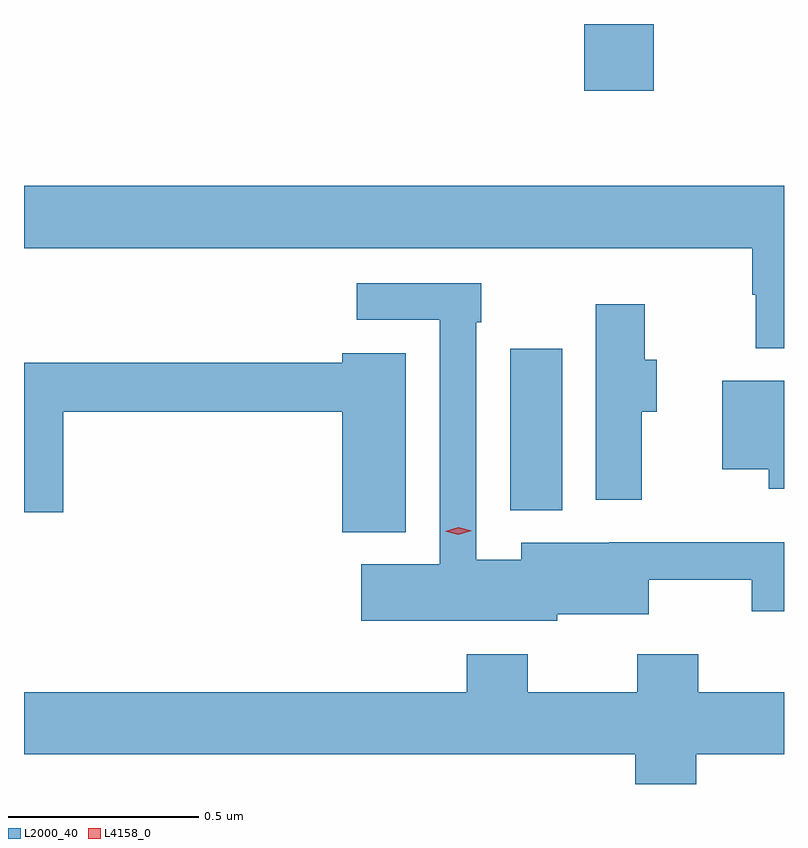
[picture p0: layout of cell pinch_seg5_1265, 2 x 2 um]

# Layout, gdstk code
import gdstk
lib = gdstk.Library(unit=1e-6, precision=1e-09)
def R(c, l, rs):  # rectangles x0, y0, x1, y1
    for r in rs: c.add(gdstk.rectangle(r[:2], r[2:], *l))
def P(c, l, *ps):  # polygons
    for p in ps: c.add(gdstk.Polygon(p, *l))
L2000_40 = (2000, 40)
L4158_0 = (4158, 0)

pinch_seg5_1265 = lib.new_cell('pinch_seg5_1265')
R(pinch_seg5_1265, L2000_40, [(461.285,878.714,461.422,879.139), (461.48,879.819,461.663,879.994)])
P(pinch_seg5_1265, L2000_40, [(462.006,879.568),(460.006,879.568),(460.006,879.404),(461.923,879.404),(461.923,879.281),(461.931,879.281),(461.931,879.141),(462.006,879.141)],
  [(461.409,878.441),(461.65,878.441),(461.65,878.531),(461.921,878.531),(461.921,878.448),(462.006,878.448),(462.006,878.63),(461.546,878.63),(461.546,878.629),(461.315,878.629),(461.315,878.584),(461.196,878.584),(461.196,879.209),(461.209,879.209),(461.209,879.312),(460.881,879.312),(460.881,879.216),(461.1,879.216),(461.1,878.572),(460.893,878.572),(460.893,878.423),(461.409,878.423)],
  [(461.632,878.974),(461.671,878.974),(461.671,879.111),(461.64,879.111),(461.64,879.256),(461.51,879.256),(461.51,878.742),(461.632,878.742)],
  [(461.011,879.127),(460.844,879.127),(460.844,879.103),(460.006,879.103),(460.006,878.709),(460.109,878.709),(460.109,878.974),(460.844,878.974),(460.844,878.657),(461.011,878.657)],
  [(462.006,879.055),(461.843,879.055),(461.843,878.822),(461.966,878.822),(461.966,878.771),(462.006,878.771)],
  [(461.775,878.072),(462.006,878.072),(462.006,878.236),(461.78,878.236),(461.78,878.335),(461.62,878.335),(461.62,878.236),(461.331,878.236),(461.331,878.335),(461.171,878.335),(461.171,878.236),(460.006,878.236),(460.006,878.072),(461.615,878.072),(461.615,877.994),(461.775,877.994)])
P(pinch_seg5_1265, L4158_0, [(461.149,878.65),(461.114,878.659),(461.114,878.659),(461.114,878.659),(461.149,878.67),(461.184,878.661),(461.184,878.661),(461.184,878.661)])

lib.write_gds('pinch_seg5_1265.gds')
